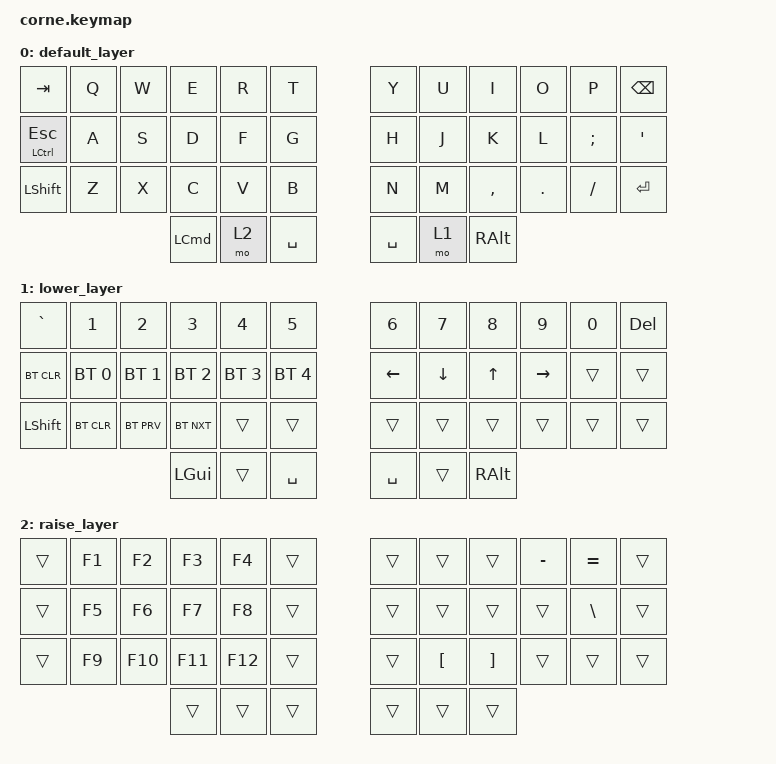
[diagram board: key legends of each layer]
/*
 * Copyright (c) 2020 The ZMK Contributors
 *
 * SPDX-License-Identifier: MIT
 */

#include <behaviors.dtsi>
#include <dt-bindings/zmk/keys.h>
#include <dt-bindings/zmk/bt.h>

/ {
        keymap {
                compatible = "zmk,keymap";

                default_layer {
// -----------------------------------------------------------------------------------------
// |  TAB |  Q  |  W  |  E  |  R  |  T  |   |  Y  |  U   |  I  |  O  |  P  | BKSP |
// | CTRL |  A  |  S  |  D  |  F  |  G  |   |  H  |  J   |  K  |  L  |  ;  |  '   |
// | SHFT |  Z  |  X  |  C  |  V  |  B  |   |  N  |  M   |  ,  |  .  |  /  | SHFT |
//                    | GUI | LWR | SPC |   | ENT | RSE  | ALT |
                        bindings = <
   &kp TAB   &kp Q &kp W &kp E &kp R &kp T   &kp Y &kp U  &kp I     &kp O   &kp P    &kp BSPC
   &mt LCTRL ESC &kp A &kp S &kp D &kp F &kp G   &kp H &kp J  &kp K     &kp L   &kp SEMI &kp SQT
   &kp LSHFT &kp Z &kp X &kp C &kp V &kp B   &kp N &kp M  &kp COMMA &kp DOT &kp FSLH &kp RET
                  &kp LCMD &mo 2 &kp SPACE   &kp SPACE &mo 1 &kp RALT
                        >;
                };
                lower_layer {
// -----------------------------------------------------------------------------------------
// |  ESC |  1  |  2  |  3  |  4  |  5  |   |  6  |  7  |  8  |  9  |  0  | BKSP |
// | BTCLR| BT1 | BT2 | BT3 | BT4 | BT5 |   | LFT | DWN |  UP | RGT |     |      |
// | SHFT |     |     |     |     |     |   |     |     |     |     |     |      |
//                    | GUI |     | SPC |   | ENT |     | ALT |
                        bindings = <
   &kp GRAVE    &kp N1       &kp N2       &kp N3       &kp N4       &kp N5            &kp N6   &kp N7   &kp N8 &kp N9    &kp N0 &kp DELETE
   &bt BT_CLR &bt BT_SEL 0 &bt BT_SEL 1 &bt BT_SEL 2 &bt BT_SEL 3 &bt BT_SEL 4      &kp LEFT &kp DOWN &kp UP &kp RIGHT &trans &trans
   &kp LSHFT  &bt BT_CLR       &bt BT_PRV       &bt BT_NXT       &trans       &trans            &trans   &trans   &trans &trans    &trans &trans
                                        &kp LGUI     &trans       &kp SPACE         &kp SPACE &trans &kp RALT
                        >;
                };

                raise_layer {
// -----------------------------------------------------------------------------------------
// |  ESC |  !  |  @  |  #  |  $  |  %  |   |  ^  |  &  |  *  |  (  |  )  | BKSP |
// | CTRL |     |     |     |     |     |   |  -  |  =  |  {  |  }  | "|" |  `   |
// | SHFT |     |     |     |     |     |   |  _  |  +  |  [  |  ]  |  \  |  ~   | // TODO: Fix this row when &mkp is committed
//                    | GUI |     | SPC |   | ENT |     | ALT |
                        bindings = <
   &trans  &kp F1  &kp F2  &kp F3  &kp F4  &trans   &trans &trans  &trans &kp MINUS &kp EQUAL &trans
   &trans  &kp F5  &kp F6  &kp F7  &kp F8  &trans   &trans &trans  &trans &trans &kp BACKSLASH &trans
   &trans  &kp F9  &kp F10  &kp F11  &kp F12  &trans   &trans &kp LEFT_BRACKET  &kp RIGHT_BRACKET &trans &trans &trans
                                   &trans &trans &trans   &trans &trans &trans
                        >;
                };
        };
};
